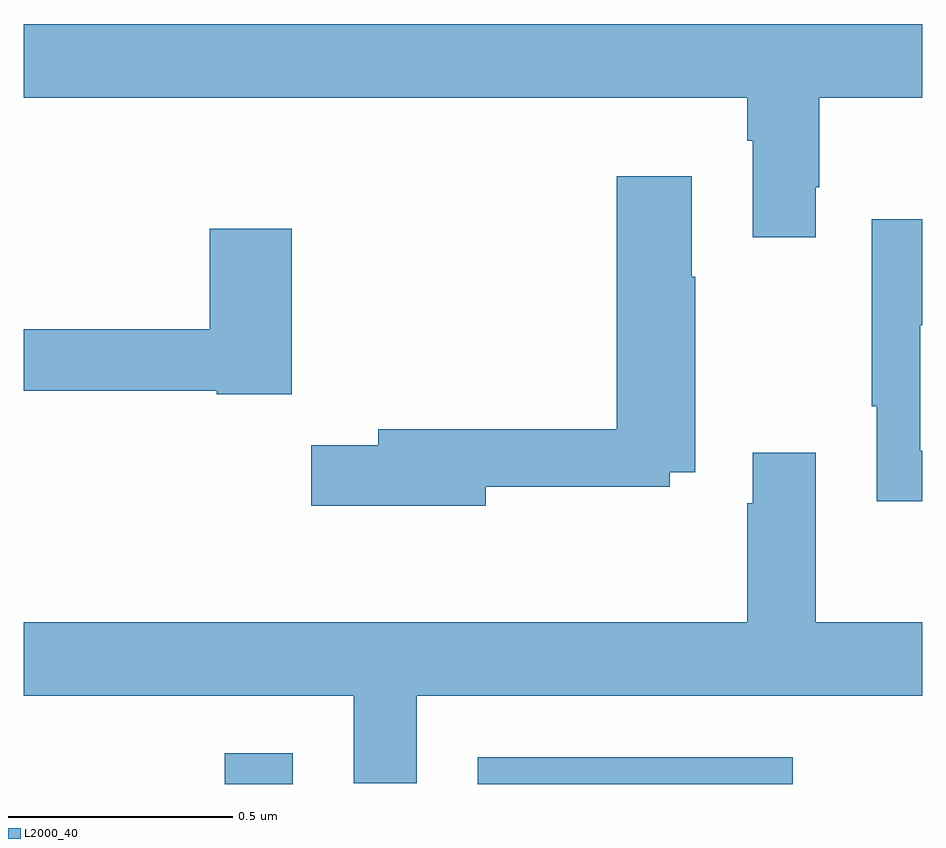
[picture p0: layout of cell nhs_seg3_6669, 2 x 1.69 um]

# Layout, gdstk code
import gdstk
lib = gdstk.Library(unit=1e-6, precision=1e-09)
def R(c, l, rs):  # rectangles x0, y0, x1, y1
    for r in rs: c.add(gdstk.rectangle(r[:2], r[2:], *l))
def P(c, l, *ps):  # polygons
    for p in ps: c.add(gdstk.Polygon(p, *l))
L2000_40 = (2000, 40)

nhs_seg3_6669 = lib.new_cell('nhs_seg3_6669')
R(nhs_seg3_6669, L2000_40, [(194.447,687.4,194.599,687.469), (195.011,687.4,195.712,687.46)])
P(nhs_seg3_6669, L2000_40, [(195.763,688.729),(195.771,688.729),(195.771,688.928),(196,688.928),(196,689.092),(194,689.092),(194,688.928),(195.611,688.928),(195.611,688.832),(195.623,688.832),(195.623,688.617),(195.763,688.617)],
  [(195.028,688.062),(195.438,688.062),(195.438,688.094),(195.495,688.094),(195.495,688.529),(195.487,688.529),(195.487,688.753),(195.32,688.753),(195.32,688.19),(194.789,688.19),(194.789,688.154),(194.64,688.154),(194.64,688.019),(195.028,688.019)],
  [(196,688.142),(195.996,688.142),(195.996,688.421),(196,688.421),(196,688.657),(195.888,688.657),(195.888,688.241),(195.899,688.241),(195.899,688.029),(196,688.029)],
  [(194.597,688.636),(194.414,688.636),(194.414,688.412),(194,688.412),(194,688.276),(194.43,688.276),(194.43,688.268),(194.597,688.268)],
  [(194.875,687.596),(196,687.596),(196,687.76),(195.763,687.76),(195.763,688.138),(195.623,688.138),(195.623,688.025),(195.611,688.025),(195.611,687.76),(194,687.76),(194,687.596),(194.735,687.596),(194.735,687.402),(194.875,687.402)])

lib.write_gds('nhs_seg3_6669.gds')
